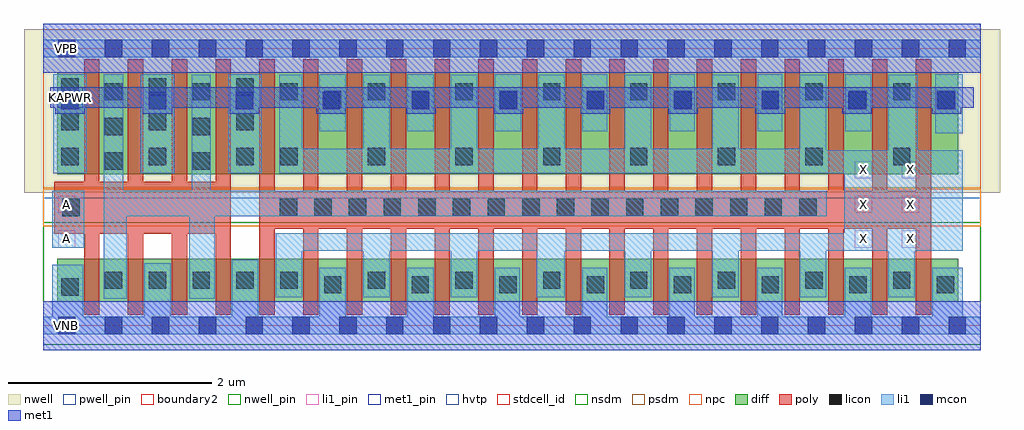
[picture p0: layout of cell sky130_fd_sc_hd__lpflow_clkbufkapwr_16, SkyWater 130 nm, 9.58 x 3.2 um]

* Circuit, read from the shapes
.subckt sky130_fd_sc_hd__lpflow_clkbufkapwr_16 A KAPWR VGND VNB VPB VPWR X
XM1 n1 A VGND VNB sky130_fd_pr__nfet_01v8 w=0.42 l=0.15 m=4
XM2 X n1 VGND VNB sky130_fd_pr__nfet_01v8 w=0.42 l=0.15 m=16
XM3 n1 A KAPWR VPB sky130_fd_pr__pfet_01v8_hvt w=1 l=0.15 m=4
XM4 X n1 KAPWR VPB sky130_fd_pr__pfet_01v8_hvt w=1 l=0.15 m=16
.ends

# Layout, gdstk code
import gdstk
lib = gdstk.Library(unit=1e-6, precision=1e-09)
def R(c, l, rs):  # rectangles x0, y0, x1, y1
    for r in rs: c.add(gdstk.rectangle(r[:2], r[2:], *l))
def A(c, l, x, y, w, h, nx, ny, dx, dy):  # array of equal rectangles
    R(c, l, [(x+i*dx, y+j*dy, x+i*dx+w, y+j*dy+h) for i in range(nx) for j in range(ny)])
def P(c, l, *ps):  # polygons
    for p in ps: c.add(gdstk.Polygon(p, *l))
nwell_pin = (64, 16)
nwell = (64, 20)
diff = (65, 20)
poly = (66, 20)
licon = (66, 44)
li1_pin = (67, 16)
li1 = (67, 20)
mcon = (67, 44)
met1_pin = (68, 16)
met1 = (68, 20)
hvtp = (78, 44)
stdcell_id = (81, 4)
nsdm = (93, 44)
psdm = (94, 20)
npc = (95, 20)
pwell_pin = (122, 16)
boundary2 = (236, 0)

sky130_fd_sc_hd__lpflow_ = lib.new_cell('sky130_fd_sc_hd__lpflow_clkbufkapwr_16')
R(sky130_fd_sc_hd__lpflow_, nwell_pin, [(0.145,2.635,0.315,2.805), (0.145,2.635,0.315,2.805)])
R(sky130_fd_sc_hd__lpflow_, nwell, [(-0.19,1.305,9.39,2.91)])
R(sky130_fd_sc_hd__lpflow_, diff, [(0.135,0.235,8.98,0.655), (0.135,1.485,8.98,2.485)])
P(sky130_fd_sc_hd__lpflow_, poly, [(8.715,2.615),(8.565,2.615),(8.565,1.325),(8.285,1.325),(8.285,2.615),(8.135,2.615),(8.135,1.325),(7.855,1.325),(7.855,2.615),(7.705,2.615),(7.705,1.325),(7.425,1.325),(7.425,2.615),(7.275,2.615),(7.275,1.325),(6.995,1.325),(6.995,2.615),(6.845,2.615),(6.845,1.325),(6.565,1.325),(6.565,2.615),(6.415,2.615),(6.415,1.325),(6.135,1.325),(6.135,2.615),(5.985,2.615),(5.985,1.325),(5.705,1.325),(5.705,2.615),(5.555,2.615),(5.555,1.325),(5.28,1.325),(5.28,2.615),(5.13,2.615),(5.13,1.325),(4.85,1.325),(4.85,2.615),(4.7,2.615),(4.7,1.325),(4.42,1.325),(4.42,2.615),(4.27,2.615),(4.27,1.325),(3.99,1.325),(3.99,2.615),(3.84,2.615),(3.84,1.325),(3.56,1.325),(3.56,2.615),(3.41,2.615),(3.41,1.325),(3.13,1.325),(3.13,2.615),(2.98,2.615),(2.98,1.325),(2.7,1.325),(2.7,2.615),(2.55,2.615),(2.55,1.325),(2.27,1.325),(2.27,2.615),(2.12,2.615),(2.12,0.105),(2.27,0.105),(2.27,0.95),(2.55,0.95),(2.55,0.105),(2.7,0.105),(2.7,0.95),(2.98,0.95),(2.98,0.105),(3.13,0.105),(3.13,0.95),(3.41,0.95),(3.41,0.105),(3.56,0.105),(3.56,0.95),(3.84,0.95),(3.84,0.105),(3.99,0.105),(3.99,0.95),(4.27,0.95),(4.27,0.105),(4.42,0.105),(4.42,0.95),(4.7,0.95),(4.7,0.105),(4.85,0.105),(4.85,0.95),(5.13,0.95),(5.13,0.105),(5.28,0.105),(5.28,0.95),(5.555,0.95),(5.555,0.105),(5.705,0.105),(5.705,0.95),(5.985,0.95),(5.985,0.105),(6.135,0.105),(6.135,0.95),(6.415,0.95),(6.415,0.105),(6.565,0.105),(6.565,0.95),(6.845,0.95),(6.845,0.105),(6.995,0.105),(6.995,0.95),(7.275,0.95),(7.275,0.105),(7.425,0.105),(7.425,0.95),(7.705,0.95),(7.705,0.105),(7.855,0.105),(7.855,0.95),(8.135,0.95),(8.135,0.105),(8.285,0.105),(8.285,0.95),(8.565,0.95),(8.565,0.105),(8.715,0.105)],
  [(1.84,2.615),(1.69,2.615),(1.69,1.41),(1.41,1.41),(1.41,2.615),(1.26,2.615),(1.26,1.41),(0.98,1.41),(0.98,2.615),(0.83,2.615),(0.83,1.41),(0.55,1.41),(0.55,2.615),(0.4,2.615),(0.4,1.41),(0.105,1.41),(0.105,0.9),(0.4,0.9),(0.4,0.105),(0.55,0.105),(0.55,0.9),(0.83,0.9),(0.83,0.105),(0.98,0.105),(0.98,0.9),(1.26,0.9),(1.26,0.105),(1.41,0.105),(1.41,0.9),(1.69,0.9),(1.69,0.105),(1.84,0.105)])
A(sky130_fd_sc_hd__lpflow_, licon, 2.755, 0.315, 0.17, 0.17, 4, 2, 0.86, 1.82)
A(sky130_fd_sc_hd__lpflow_, licon, 6.19, 0.315, 0.17, 0.17, 4, 2, 0.86, 1.82)
A(sky130_fd_sc_hd__lpflow_, licon, 0.605, 0.36, 0.17, 0.17, 5, 1, 0.43, 0)
A(sky130_fd_sc_hd__lpflow_, licon, 3.185, 0.36, 0.17, 0.17, 3, 1, 0.86, 0)
A(sky130_fd_sc_hd__lpflow_, licon, 5.76, 0.36, 0.17, 0.17, 4, 2, 0.86, 1.215)
A(sky130_fd_sc_hd__lpflow_, licon, 2.32, 1.075, 0.17, 0.17, 16, 1, 0.34, 0)
A(sky130_fd_sc_hd__lpflow_, licon, 0.175, 1.575, 0.17, 0.17, 3, 3, 0.86, 0.34)
A(sky130_fd_sc_hd__lpflow_, licon, 2.325, 1.575, 0.17, 0.17, 4, 1, 0.86, 0)
A(sky130_fd_sc_hd__lpflow_, licon, 0.605, 2.21, 0.17, 0.17, 6, 1, 0.86, 0)
A(sky130_fd_sc_hd__lpflow_, licon, 5.76, 2.21, 0.17, 0.17, 4, 1, 0.86, 0)
R(sky130_fd_sc_hd__lpflow_, licon, [(0.175,0.295,0.345,0.465), (0.185,1.075,0.355,1.245), (0.605,1.53,0.775,1.7), (1.465,1.53,1.635,1.7), (0.605,1.87,0.775,2.04), (1.465,1.87,1.635,2.04)])
A(sky130_fd_sc_hd__lpflow_, li1_pin, 7.965, 0.765, 0.17, 0.17, 1, 3, 0, 0.34)
A(sky130_fd_sc_hd__lpflow_, li1_pin, 8.425, 0.765, 0.17, 0.17, 1, 3, 0, 0.34)
R(sky130_fd_sc_hd__lpflow_, li1_pin, [(0.145,0.765,0.315,0.935), (0.145,1.105,0.315,1.275)])
A(sky130_fd_sc_hd__lpflow_, li1, 0.095, 1.495, 0.33, 0.97, 3, 1, 0.86, 0)
A(sky130_fd_sc_hd__lpflow_, li1, 2.71, 1.905, 0.26, 0.56, 3, 1, 0.86, 0)
A(sky130_fd_sc_hd__lpflow_, li1, 5.29, 1.905, 0.245, 0.56, 3, 1, 0.86, 0)
R(sky130_fd_sc_hd__lpflow_, li1, [(0.085,0.765,0.4,1.325), (8.755,1.89,9.025,2.465), (7.87,1.905,8.125,2.465), (0,2.635,9.2,2.805)])
P(sky130_fd_sc_hd__lpflow_, li1, [(9.025,1.72),(8.585,1.72),(8.585,2.46),(8.295,2.46),(8.295,1.72),(7.685,1.72),(7.685,2.46),(7.425,2.46),(7.425,1.735),(6.825,1.735),(6.825,2.46),(6.565,2.46),(6.565,1.735),(5.965,1.735),(5.965,2.46),(5.705,2.46),(5.705,1.735),(5.12,1.735),(5.12,2.46),(4.86,2.46),(4.86,1.735),(4.26,1.735),(4.26,2.46),(4,2.46),(4,1.735),(3.4,1.735),(3.4,2.46),(3.14,2.46),(3.14,1.735),(2.54,1.735),(2.54,2.46),(2.315,2.46),(2.315,1.495),(7.86,1.495),(7.86,0.905),(2.28,0.905),(2.28,0.28),(2.54,0.28),(2.54,0.735),(3.14,0.735),(3.14,0.28),(3.4,0.28),(3.4,0.735),(4,0.735),(4,0.28),(4.26,0.28),(4.26,0.735),(4.845,0.735),(4.845,0.28),(5.12,0.28),(5.12,0.735),(5.705,0.735),(5.705,0.28),(5.965,0.28),(5.965,0.735),(6.565,0.735),(6.565,0.28),(6.825,0.28),(6.825,0.735),(7.425,0.735),(7.425,0.28),(7.685,0.28),(7.685,0.735),(8.295,0.735),(8.295,0.28),(8.555,0.28),(8.555,0.735),(9.025,0.735)],
  [(9.2,0.085),(9.025,0.085),(9.025,0.565),(8.725,0.565),(8.725,0.085),(8.125,0.085),(8.125,0.565),(7.865,0.565),(7.865,0.085),(7.255,0.085),(7.255,0.565),(7.005,0.565),(7.005,0.085),(6.395,0.085),(6.395,0.565),(6.145,0.565),(6.145,0.085),(5.535,0.085),(5.535,0.565),(5.29,0.565),(5.29,0.085),(4.675,0.085),(4.675,0.565),(4.43,0.565),(4.43,0.085),(3.83,0.085),(3.83,0.565),(3.57,0.565),(3.57,0.085),(2.97,0.085),(2.97,0.565),(2.71,0.565),(2.71,0.085),(2.11,0.085),(2.11,0.645),(1.85,0.645),(1.85,0.085),(1.25,0.085),(1.25,0.61),(0.99,0.61),(0.99,0.085),(0.39,0.085),(0.39,0.595),(0.085,0.595),(0.085,0.085),(0,0.085),(0,-0.085),(9.2,-0.085)],
  [(7.69,1.325),(1.645,1.325),(1.645,2.46),(1.455,2.46),(1.455,1.325),(0.785,1.325),(0.785,2.465),(0.595,2.465),(0.595,0.265),(0.82,0.265),(0.82,1.075),(1.43,1.075),(1.43,0.265),(1.68,0.265),(1.68,1.075),(7.69,1.075)])
A(sky130_fd_sc_hd__lpflow_, mcon, 0.145, -0.085, 0.17, 0.17, 20, 2, 0.46, 2.72)
R(sky130_fd_sc_hd__lpflow_, mcon, [(0.175,2.125,0.345,2.295), (1.035,2.125,1.205,2.295), (1.89,2.125,2.06,2.295), (2.74,2.125,2.91,2.295), (3.62,2.125,3.79,2.295), (4.48,2.125,4.65,2.295), (5.335,2.125,5.505,2.295), (6.195,2.125,6.365,2.295), (7.05,2.125,7.22,2.295), (7.9,2.125,8.07,2.295), (8.78,2.125,8.95,2.295)])
R(sky130_fd_sc_hd__lpflow_, met1_pin, [(0.145,-0.085,0.315,0.085), (0.14,2.14,0.385,2.34), (0.145,2.635,0.315,2.805)])
R(sky130_fd_sc_hd__lpflow_, met1, [(0,-0.24,9.2,0.24), (0,2.48,9.2,2.96)])
P(sky130_fd_sc_hd__lpflow_, met1, [(9.13,2.34),(0.07,2.34),(0.07,2.14),(0.115,2.14),(0.115,2.08),(0.405,2.08),(0.405,2.14),(0.975,2.14),(0.975,2.08),(1.265,2.08),(1.265,2.14),(1.83,2.14),(1.83,2.08),(2.12,2.08),(2.12,2.14),(2.68,2.14),(2.68,2.08),(2.97,2.08),(2.97,2.14),(3.56,2.14),(3.56,2.08),(3.85,2.08),(3.85,2.14),(4.42,2.14),(4.42,2.08),(4.71,2.08),(4.71,2.14),(5.275,2.14),(5.275,2.08),(5.565,2.08),(5.565,2.14),(6.135,2.14),(6.135,2.08),(6.425,2.08),(6.425,2.14),(6.99,2.14),(6.99,2.08),(7.28,2.08),(7.28,2.14),(7.84,2.14),(7.84,2.08),(8.13,2.08),(8.13,2.14),(8.72,2.14),(8.72,2.08),(9.01,2.08),(9.01,2.14),(9.13,2.14)])
R(sky130_fd_sc_hd__lpflow_, hvtp, [(0,1.25,9.2,2.72)])
R(sky130_fd_sc_hd__lpflow_, stdcell_id, [(0,0,9.2,2.72)])
R(sky130_fd_sc_hd__lpflow_, nsdm, [(0,-0.19,9.2,1.015)])
R(sky130_fd_sc_hd__lpflow_, psdm, [(0,1.355,9.2,2.91)])
R(sky130_fd_sc_hd__lpflow_, npc, [(0,0.975,9.2,1.345)])
R(sky130_fd_sc_hd__lpflow_, pwell_pin, [(0.145,-0.085,0.315,0.085), (0.145,-0.085,0.315,0.085)])
R(sky130_fd_sc_hd__lpflow_, boundary2, [(0,0,9.2,2.72)])
sky130_fd_sc_hd__lpflow_.add(gdstk.Label('X', (8.05,1.53), layer=67, texttype=5))
sky130_fd_sc_hd__lpflow_.add(gdstk.Label('X', (8.51,1.53), layer=67, texttype=5))
sky130_fd_sc_hd__lpflow_.add(gdstk.Label('X', (8.51,1.19), layer=67, texttype=5))
sky130_fd_sc_hd__lpflow_.add(gdstk.Label('X', (8.05,1.19), layer=67, texttype=5))
sky130_fd_sc_hd__lpflow_.add(gdstk.Label('X', (8.05,0.85), layer=67, texttype=5))
sky130_fd_sc_hd__lpflow_.add(gdstk.Label('X', (8.51,0.85), layer=67, texttype=5))
sky130_fd_sc_hd__lpflow_.add(gdstk.Label('A', (0.23,0.85), layer=67, texttype=5))
sky130_fd_sc_hd__lpflow_.add(gdstk.Label('A', (0.23,1.19), layer=67, texttype=5))
sky130_fd_sc_hd__lpflow_.add(gdstk.Label('VNB', (0.23,0), layer=64, texttype=59))
sky130_fd_sc_hd__lpflow_.add(gdstk.Label('VNB', (0.23,0), layer=64, texttype=59))
sky130_fd_sc_hd__lpflow_.add(gdstk.Label('VPB', (0.23,2.72), layer=64, texttype=5))
sky130_fd_sc_hd__lpflow_.add(gdstk.Label('VPB', (0.23,2.72), layer=64, texttype=5))
sky130_fd_sc_hd__lpflow_.add(gdstk.Label('KAPWR', (0.265,2.24), layer=68, texttype=5))
sky130_fd_sc_hd__lpflow_.add(gdstk.Label('VGND', (0.23,0), layer=68, texttype=5))
sky130_fd_sc_hd__lpflow_.add(gdstk.Label('VPWR', (0.23,2.72), layer=68, texttype=5))
sky130_fd_sc_hd__lpflow_.add(gdstk.Label('lpflow_clkbufkapwr_16', (0,0), layer=83, texttype=44))

lib.write_gds('sky130_fd_sc_hd__lpflow_clkbufkapwr_16.gds')
